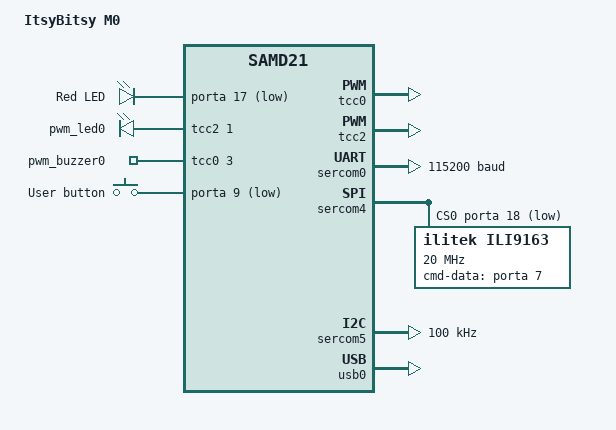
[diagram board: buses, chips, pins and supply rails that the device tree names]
/*
 * Copyright (c) 2018 Bryan O'Donoghue
 *
 * SPDX-License-Identifier: Apache-2.0
 */

/dts-v1/;
#include <atmel/samd21.dtsi>

/ {
	model = "ItsyBitsy M0";
	compatible = "atsamd21,itsybitsy_m0", "atmel,samd21j18a", "atmel,samd21";

	chosen {
		zephyr,console = &sercom0;
		zephyr,shell-uart = &sercom0;
		zephyr,sram = &sram0;
		zephyr,flash = &flash0;
	};

	/* These aliases are provided for compatibility with samples */
	aliases {
                sw0 = &button0;
		led0 = &led0;
                pwm-led0 = &pwm_led0;
                pwm-buzzer0 = &pwm_buzzer0;
		i2c-0 = &sercom5;
                spi-0 = &sercom4;
	};

	leds {
		compatible = "gpio-leds";
		led0: led_0 {
			gpios = <&porta 17 GPIO_ACTIVE_LOW>;
			label = "Red LED";
		};
	};

        pwmleds {
		compatible = "pwm-leds";

		pwm_led0: pwm_led_0 {
			pwms = <&tcc2 1>;
		};
	};
        
        buzzers {
                compatible = "pwm-leds";
                pwm_buzzer0: pwm_buzzer_0 {
                    pwms = <&tcc0 3>;
                };
        };

        buttons {
                compatible = "gpio-keys";
                button0: button_0 {
                    gpios = < &porta 9 (GPIO_PULL_UP | GPIO_ACTIVE_LOW)>;
                    label = "User button";
                };
             /* ... other buttons ... */
        };

};

&cpu0 {
	clock-frequency = <48000000>;
};


&tcc0 {
	status = "okay";
	compatible = "atmel,sam0-tcc-pwm";
	/* Gives a maximum period of 1.4 s */
	prescaler = <1024>;
	#pwm-cells = <1>;
};

&tcc2 {
	status = "okay";
	compatible = "atmel,sam0-tcc-pwm";
	/* Gives a maximum period of 1.4 s */
	prescaler = <1024>;
	#pwm-cells = <1>;
};

&sercom0 {
	status = "okay";
	compatible = "atmel,sam0-uart";
	current-speed = <115200>;
	rxpo = <3>;
	txpo = <1>;
};



&sercom4 {
	status = "okay";
	compatible = "atmel,sam0-spi";
	dipo = <0>;
	dopo = <1>;
	#address-cells = <1>;
	#size-cells = <0>;
        cs-gpios = <&porta 18 GPIO_ACTIVE_LOW>;
        ili9163@0 {
            status = "okay";
            label = "ILI9163";
            spi-max-frequency = <20000000>;
            reg = <0>;
            compatible = "ilitek,ili9163";
            cmd-data-gpios=<&porta 7 GPIO_ACTIVE_HIGH>;
        };
};

// USB



&sercom5 {
	status = "okay";
	compatible = "atmel,sam0-i2c";
	clock-frequency = <I2C_BITRATE_STANDARD>;
	#address-cells = <1>;
	#size-cells = <0>;
};




&usb0 {
	status = "okay";
};
